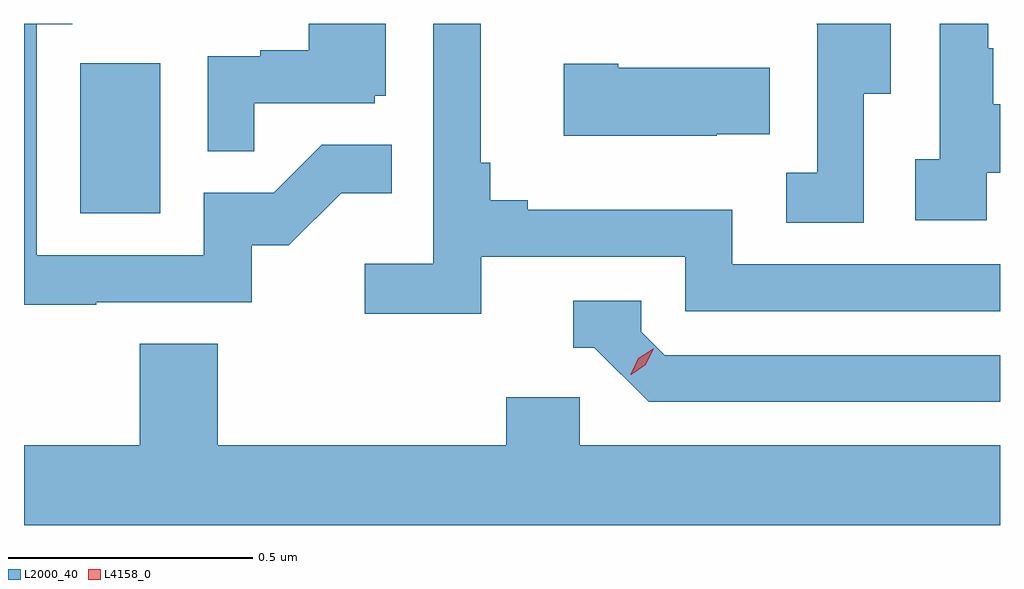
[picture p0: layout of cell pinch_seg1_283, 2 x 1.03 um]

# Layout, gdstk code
import gdstk
lib = gdstk.Library(unit=1e-6, precision=1e-09)
def R(c, l, rs):  # rectangles x0, y0, x1, y1
    for r in rs: c.add(gdstk.rectangle(r[:2], r[2:], *l))
def P(c, l, *ps):  # polygons
    for p in ps: c.add(gdstk.Polygon(p, *l))
L2000_40 = (2000, 40)
L4158_0 = (4158, 0)

pinch_seg1_283 = lib.new_cell('pinch_seg1_283')
R(pinch_seg1_283, L2000_40, [(897.254,560.364,897.418,560.671)])
P(pinch_seg1_283, L2000_40, [(897.287,560.181),(897.606,560.181),(897.606,560.298),(897.682,560.298),(897.789,560.405),(897.893,560.405),(897.893,560.504),(897.749,560.504),(897.651,560.406),(897.507,560.406),(897.507,560.277),(897.165,560.277),(897.165,560.751),(897.238,560.751),(897.238,560.752),(897.139,560.752),(897.139,560.176),(897.287,560.176)],
  [(898.076,560.274),(898.494,560.274),(898.494,560.163),(899.139,560.163),(899.139,560.259),(898.59,560.259),(898.59,560.371),(898.171,560.371),(898.171,560.39),(898.094,560.39),(898.094,560.467),(898.075,560.467),(898.075,560.752),(897.978,560.752),(897.978,560.26),(897.837,560.26),(897.837,560.158),(898.076,560.158)],
  [(898.86,560.608),(898.915,560.608),(898.915,560.752),(898.763,560.752),(898.763,560.751),(898.764,560.751),(898.764,560.447),(898.701,560.447),(898.701,560.344),(898.86,560.344)],
  [(899.112,560.447),(899.139,560.447),(899.139,560.587),(899.125,560.587),(899.125,560.702),(899.115,560.702),(899.115,560.752),(899.016,560.752),(899.016,560.474),(898.965,560.474),(898.965,560.349),(899.112,560.349)],
  [(897.611,560.589),(897.858,560.589),(897.858,560.604),(897.88,560.604),(897.88,560.752),(897.722,560.752),(897.722,560.698),(897.623,560.698),(897.623,560.685),(897.516,560.685),(897.516,560.491),(897.611,560.491)],
  [(898.559,560.525),(898.667,560.525),(898.667,560.662),(898.357,560.662),(898.357,560.67),(898.245,560.67),(898.245,560.522),(898.559,560.522)],
  [(899.139,560.073),(898.452,560.073),(898.404,560.121),(898.404,560.184),(898.265,560.184),(898.265,560.088),(898.308,560.088),(898.419,559.977),(899.139,559.977)],
  [(899.139,559.888),(898.278,559.888),(898.278,559.986),(898.127,559.986),(898.127,559.888),(897.536,559.888),(897.536,560.096),(897.376,560.096),(897.376,559.888),(897.139,559.888),(897.139,559.724),(899.139,559.724)])
P(pinch_seg1_283, L4158_0, [(898.382,560.033),(898.382,560.034),(898.398,560.066),(898.428,560.086),(898.429,560.086),(898.429,560.086),(898.413,560.053),(898.383,560.033)])

lib.write_gds('pinch_seg1_283.gds')
